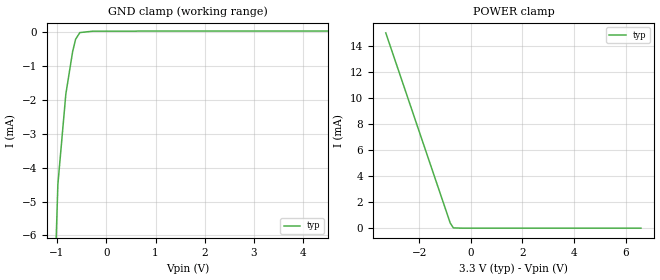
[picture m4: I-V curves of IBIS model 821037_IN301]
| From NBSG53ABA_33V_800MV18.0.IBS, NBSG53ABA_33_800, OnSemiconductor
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| COPYRIGHT(C) MENTOR GRAPHICS CORPORATION 2002 ALL
| RIGHTS RESERVED. THIS WORK CONTAINS PROPRIETARY
| INFORMATION WHICH IS THE PROPERTY OF MENTOR GRAPHICS
| CORPORATION OR ITS LICENSORS. USE OF THESE MATERIALS
| IS SUBJECT TO THE TERMS BELOW.
| USE: MENTOR GRAPHICS HAS LICENSED IBIS MODELS TO
| SPECIFIC INTEGRATED CIRCUIT SUPPLIERS ("IC VENDORS")
| FOR USE AND DISTRIBUTION AS FOLLOWS: EACH IC VENDOR
| MAY USE IBIS MODELS, AND DISTRIBUTE THEM TO IC VENDOR'S
| CUSTOMERS TO USE, SOLELY FOR DEVELOPING PRINTED
| CIRCUIT BOARD DESIGNS. NO OTHER USE OR DISTRIBUTION
| OF THESE MATERIALS IS PERMITTED.
| Model Application Version 1.89 2/18/99.
[Model] 821037_IN301
Model_type Input_ECL
Vinl = 1.575V
Vinh = 1.725V
C_comp 500.0fF NA NA
| variable typ   min   max
[Voltage Range] 3.300V NA NA
[GND Clamp Reference] 0.000V NA NA
[POWER Clamp Reference] 3.300V NA NA
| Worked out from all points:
|   GND clamp passes 1 mA (typ) near -0.73 V on its own axis
[GND Clamp]
-3.3V     -112.8mA   NA         NA
-983.3mV  -4.493mA   NA         NA
-821.3mV  -1.821mA   NA         NA
-684.2mV  -574.2uA   NA         NA
-623.7mV  -206.6uA   NA         NA
-537.4mV  -6.478uA   NA         NA
-268.7mV  34.42uA    NA         NA
596.9mV   34.42uA    NA         NA
648.8mV   38.47uA    NA         NA
6.6V      38.47uA    NA         NA
[POWER Clamp]
-3.3V     15.01mA    NA         NA
-799.4mV  393uA      NA         NA
-677.6mV  21.04uA    NA         NA
-338.8mV  0A         NA         NA
6.6V      0A         NA         NA
